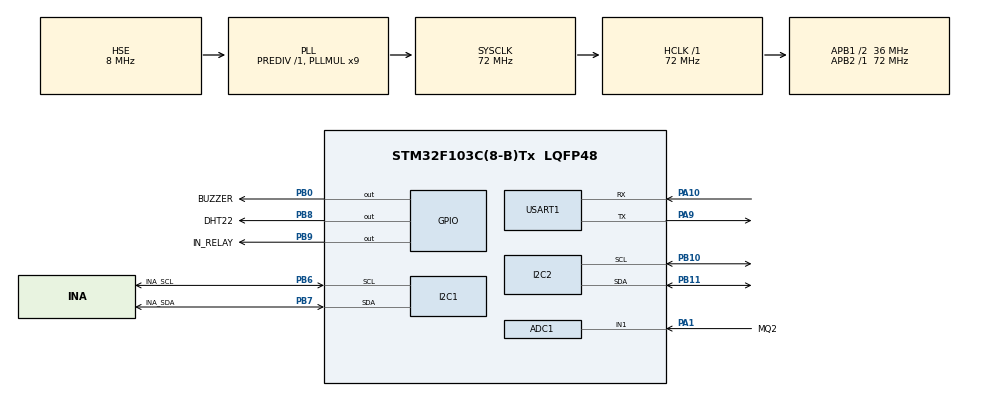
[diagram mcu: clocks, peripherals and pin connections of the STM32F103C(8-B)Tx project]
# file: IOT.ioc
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ADC1.Channel-0\#ChannelRegularConversion=ADC_CHANNEL_1
ADC1.ContinuousConvMode=DISABLE
ADC1.NbrOfConversion=1
ADC1.NbrOfConversionFlag=1
ADC1.Rank-0\#ChannelRegularConversion=1
ADC1.SamplingTime-0\#ChannelRegularConversion=ADC_SAMPLETIME_239CYCLES_5
ADC1.master=1
Dma.ADC1.0.Direction=DMA_PERIPH_TO_MEMORY
Dma.ADC1.0.Instance=DMA1_Channel1
Dma.ADC1.0.MemDataAlignment=DMA_MDATAALIGN_HALFWORD
Dma.ADC1.0.MemInc=DMA_MINC_ENABLE
Dma.ADC1.0.Mode=DMA_CIRCULAR
Dma.ADC1.0.PeriphDataAlignment=DMA_PDATAALIGN_HALFWORD
Dma.ADC1.0.PeriphInc=DMA_PINC_DISABLE
Dma.ADC1.0.Priority=DMA_PRIORITY_LOW
Dma.Request0=ADC1
Mcu.Family=STM32F1
Mcu.Name=STM32F103C(8-B)Tx
Mcu.Package=LQFP48
NVIC.DMA1_Channel1_IRQn=true\:0\:0\:false\:false\:true\:false\:true\:true
NVIC.PriorityGroup=NVIC_PRIORITYGROUP_4
NVIC.USART1_IRQn=true\:0\:0\:false\:false\:true\:true\:true\:true
PA1.GPIO_Label=MQ2
PA1.Signal=ADCx_IN1
PA10.Mode=Asynchronous
PA10.Signal=USART1_RX
PA13.Mode=Serial_Wire
PA13.Signal=SYS_JTMS-SWDIO
PA14.Mode=Serial_Wire
PA14.Signal=SYS_JTCK-SWCLK
PA9.Mode=Asynchronous
PA9.Signal=USART1_TX
PB0.GPIO_Label=BUZZER
PB0.Signal=GPIO_Output
PB10.Mode=I2C
PB10.Signal=I2C2_SCL
PB11.Mode=I2C
PB11.Signal=I2C2_SDA
PB6.GPIO_Label=INA_SCL
PB6.Mode=I2C
PB6.Signal=I2C1_SCL
PB7.GPIO_Label=INA_SDA
PB7.Mode=I2C
PB7.Signal=I2C1_SDA
PB8.GPIO_Label=DHT22
PB8.GPIO_ModeDefaultOutputPP=GPIO_MODE_OUTPUT_OD
PB8.GPIO_PuPd=GPIO_PULLUP
PB8.GPIO_Speed=GPIO_SPEED_FREQ_HIGH
PB8.PinState=GPIO_PIN_SET
PB8.Signal=GPIO_Output
PB9.GPIO_Label=IN_RELAY
PB9.PinState=GPIO_PIN_SET
PB9.Signal=GPIO_Output
PD0-OSC_IN.Mode=HSE-External-Oscillator
PD0-OSC_IN.Signal=RCC_OSC_IN
PD1-OSC_OUT.Mode=HSE-External-Oscillator
PD1-OSC_OUT.Signal=RCC_OSC_OUT
ProjectManager.HeapSize=0x200
ProjectManager.StackSize=0x400
ProjectManager.TargetToolchain=STM32CubeIDE
RCC.ADCPresc=RCC_ADCPCLK2_DIV6
RCC.AHBFreq_Value=72000000
RCC.APB1CLKDivider=RCC_HCLK_DIV2
RCC.APB1Freq_Value=36000000
RCC.APB1TimFreq_Value=72000000
RCC.APB2Freq_Value=72000000
RCC.APB2TimFreq_Value=72000000
RCC.HCLKFreq_Value=72000000
RCC.PLLMUL=RCC_PLL_MUL9
RCC.PLLSourceVirtual=RCC_PLLSOURCE_HSE
RCC.SYSCLKFreq_VALUE=72000000
RCC.SYSCLKSource=RCC_SYSCLKSOURCE_PLLCLK
RCC.USBFreq_Value=72000000
SH.ADCx_IN1.0=ADC1_IN1,IN1
TIM2.Prescaler=72-1
USART1.VirtualMode=VM_ASYNC
VP_TIM2_VS_ClockSourceINT.Mode=Internal
board=custom

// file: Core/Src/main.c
/* USER CODE BEGIN Header */
/**
 ******************************************************************************
 * @file           : main.c
 * @brief          : Main program body (Dual INA219 I2C1/I2C2 + ADC1_IN1 Only)
 ******************************************************************************
 */
/* USER CODE END Header */
#include "main.h"

/* USER CODE BEGIN Includes */
#include <stdio.h>
#include <string.h>
/* USER CODE END Includes */

/* USER CODE BEGIN PD */
// Konfigurasi Buzzer Active-LOW (ON = RESET / 0V, OFF = SET / 3.3V)
#define BUZZER_STATE_ON       GPIO_PIN_RESET
#define BUZZER_STATE_OFF      GPIO_PIN_SET

// Konfigurasi Relay Active-LOW (ON = RESET / 0V, OFF = SET / 3.3V)
#define RELAY_STATE_ON        GPIO_PIN_RESET
#define RELAY_STATE_OFF       GPIO_PIN_SET

// Parameter Ambang Batas Sensor (Thresholds)
#define MQ2_THRESHOLD_ROKOK   700      // Batas asap rokok (1000 - 2000 ADC)
#define MQ2_THRESHOLD_FIRE    1500      // Batas kebakaran gas/asap pekat (> 2000 ADC)
#define SUHU_THRESHOLD_FIRE   50.0f     // Batas suhu kebakaran (> 50.0 C)

// Konfigurasi Alamat & Register INA219 (kedua sensor pakai 0x40 di bus I2C berbeda)
#define INA219_ADDR           (0x40 << 1)
#define INA219_REG_CONFIG     0x00
#define INA219_REG_SHUNTVOLT  0x01
#define INA219_REG_BUSVOLT    0x02

// Batas Tegangan Baterai 3S (11.1V kosong, 12.6V penuh)
#define VBAT_MIN              11.1f
#define VBAT_MAX              12.6f
/* USER CODE END PD */

ADC_HandleTypeDef hadc1;
DMA_HandleTypeDef hdma_adc1;

I2C_HandleTypeDef hi2c1;
I2C_HandleTypeDef hi2c2;

TIM_HandleTypeDef htim2;

UART_HandleTypeDef huart1;

/* USER CODE BEGIN PV */
// Hanya 1 channel ADC (PA1 / ADC1_IN1 untuk MQ-2)
uint16_t adc_buffer[1];

// Data Baterai -> Rangkaian (INA219 #1 di I2C1: PB6/PB7)
float v_bat = 0.0f;
float pres_bat = 0.0f;
float i_bat = 0.0f;          // Arus beban ke rangkaian (bisa dipantau di Live Expressions)
float p_bat = 0.0f;          // Daya beban ke rangkaian (bisa dipantau di Live Expressions)
uint8_t ina_bat_status = 0;

// Data Solar Panel -> SCC/Baterai (INA219 #2 di I2C2: PB10/PB11)
float v_pv = 0.0f;
float i_pv = 0.0f;
float p_pv = 0.0f;
uint8_t ina_pv_status = 0;

// Status gabungan INA untuk format JSON ESP32 (1 jika kedua INA terhubung)
uint8_t ina_status = 0;

// Moving average tegangan baterai (5 sampel) agar persentase stabil
float v_bat_hist[5] = { 0.0f };
uint8_t v_bat_idx = 0;
uint8_t v_bat_count = 0;

// Data Lingkungan & Gas
uint16_t mq2_raw = 0;
float suhu = 0.0f;
float kelembapan = 0.0f;
uint8_t dht_status = 0;

// Variabel status & kontrol (volatile untuk Live Expressions & Interrupt)
volatile uint8_t pump_status = 0;
volatile uint8_t buzzer_manual = 0;
volatile uint8_t deteksi_kebakaran = 0;
volatile uint8_t deteksi_rokok = 0;

uint8_t uart_rx_byte = 0;
char uart_rx_line[32];
uint8_t uart_rx_idx = 0;
/* USER CODE END PV */

void SystemClock_Config(void);
static void MX_GPIO_Init(void);
static void MX_DMA_Init(void);
static void MX_ADC1_Init(void);
static void MX_I2C1_Init(void);
static void MX_I2C2_Init(void);
static void MX_USART1_UART_Init(void);
static void MX_TIM2_Init(void);
/* USER CODE BEGIN PFP */
void Buzzer_On(void);
void Buzzer_Off(void);
void Buzzer_Beep(uint8_t jumlah, uint16_t on_ms, uint16_t off_ms);
float hitung_pres_bat(float volt);
float filter_v_bat(float v_baru);
uint8_t INA219_Init(I2C_HandleTypeDef *hi2c);
uint8_t INA219_Read_Data(I2C_HandleTypeDef *hi2c, float *v_bus, float *i_ma, float *p_watt);
void I2C_Bus_Recovery(I2C_HandleTypeDef *hi2c);
/* USER CODE END PFP */

/* USER CODE BEGIN 0 */
void Buzzer_On(void) {
	HAL_GPIO_WritePin(BUZZER_GPIO_Port, BUZZER_Pin, BUZZER_STATE_ON);
}

void Buzzer_Off(void) {
	HAL_GPIO_WritePin(BUZZER_GPIO_Port, BUZZER_Pin, BUZZER_STATE_OFF);
}

void Buzzer_Beep(uint8_t jumlah, uint16_t on_ms, uint16_t off_ms) {
	for (uint8_t i = 0; i < jumlah; i++) {
		Buzzer_On();
		HAL_Delay(on_ms);
		Buzzer_Off();
		HAL_Delay(off_ms);
	}
}

float hitung_pres_bat(float volt) {
	if (volt >= VBAT_MAX)
		return 100.0f;
	if (volt <= VBAT_MIN)
		return 0.0f;
	return ((volt - VBAT_MIN) / (VBAT_MAX - VBAT_MIN)) * 100.0f;
}

float filter_v_bat(float v_baru) {
	v_bat_hist[v_bat_idx] = v_baru;
	v_bat_idx = (v_bat_idx + 1) % 5;
	if (v_bat_count < 5) {
		v_bat_count++;
	}
	float total = 0.0f;
	for (uint8_t i = 0; i < v_bat_count; i++) {
		total += v_bat_hist[i];
	}
	return total / (float) v_bat_count;
}

void delay_us(uint16_t us) {
	uint16_t start = (uint16_t) htim2.Instance->CNT;
	while ((uint16_t) (htim2.Instance->CNT - start) < us)
		;
}

static void DHT_SetPin_Output(void) {
	GPIO_InitTypeDef GPIO_InitStruct = { 0 };
	GPIO_InitStruct.Pin = DHT22_Pin;
	GPIO_InitStruct.Mode = GPIO_MODE_OUTPUT_PP;
	GPIO_InitStruct.Speed = GPIO_SPEED_FREQ_HIGH;
	HAL_GPIO_Init(DHT22_GPIO_Port, &GPIO_InitStruct);
}

static void DHT_SetPin_Input(void) {
	GPIO_InitTypeDef GPIO_InitStruct = { 0 };
	GPIO_InitStruct.Pin = DHT22_Pin;
	GPIO_InitStruct.Mode = GPIO_MODE_INPUT;
	GPIO_InitStruct.Pull = GPIO_PULLUP;
	HAL_GPIO_Init(DHT22_GPIO_Port, &GPIO_InitStruct);
}

uint8_t DHT22_Read_Data(float *suhu_out, float *kelembapan_out) {
	uint8_t bits[5] = { 0, 0, 0, 0, 0 };
	uint16_t t0;

	DHT_SetPin_Output();
	HAL_GPIO_WritePin(DHT22_GPIO_Port, DHT22_Pin, GPIO_PIN_RESET);
	HAL_Delay(18);

	HAL_GPIO_WritePin(DHT22_GPIO_Port, DHT22_Pin, GPIO_PIN_SET);
	delay_us(15);
	DHT_SetPin_Input();

	__disable_irq();

	t0 = (uint16_t) htim2.Instance->CNT;
	while (DHT22_GPIO_Port->IDR & DHT22_Pin) {
		if ((uint16_t) (htim2.Instance->CNT - t0) > 150) {
			__enable_irq();
			return 2;
		}
	}
	t0 = (uint16_t) htim2.Instance->CNT;
	while (!(DHT22_GPIO_Port->IDR & DHT22_Pin)) {
		if ((uint16_t) (htim2.Instance->CNT - t0) > 150) {
			__enable_irq();
			return 3;
		}
	}
	t0 = (uint16_t) htim2.Instance->CNT;
	while (DHT22_GPIO_Port->IDR & DHT22_Pin) {
		if ((uint16_t) (htim2.Instance->CNT - t0) > 150) {
			__enable_irq();
			return 4;
		}
	}
	for (int i = 0; i < 40; i++) {
		t0 = (uint16_t) htim2.Instance->CNT;
		while (!(DHT22_GPIO_Port->IDR & DHT22_Pin)) {
			if ((uint16_t) (htim2.Instance->CNT - t0) > 120) {
				__enable_irq();
				return 5;
			}
		}
		t0 = (uint16_t) htim2.Instance->CNT;
		while (DHT22_GPIO_Port->IDR & DHT22_Pin) {
			if ((uint16_t) (htim2.Instance->CNT - t0) > 120) {
				__enable_irq();
				return 6;
			}
		}
		uint16_t duration = (uint16_t) (htim2.Instance->CNT - t0);
		if (duration > 45) {
			bits[i / 8] |= (1 << (7 - (i % 8)));
		}
	}
	__enable_irq();

	if (bits[0] == 0 && bits[1] == 0 && bits[2] == 0 && bits[3] == 0
			&& bits[4] == 0) {
		return 7;
	}
	if (bits[4] != ((bits[0] + bits[1] + bits[2] + bits[3]) & 0xFF)) {
		return 8;
	}
	uint16_t raw_rh = ((uint16_t) bits[0] << 8) | bits[1];
	*kelembapan_out = (float) raw_rh / 10.0f;
	uint16_t raw_temp = (((uint16_t) bits[2] & 0x7F) << 8) | bits[3];
	*suhu_out = (float) raw_temp / 10.0f;
	if (bits[2] & 0x80) {
		*suhu_out = -(*suhu_out);
	}
	return 1;
}

// Fungsi Auto Recovery Bus I2C untuk mengatasi HAL_BUSY / HAL_ERROR (Errata I2C STM32F1)
void I2C_Bus_Recovery(I2C_HandleTypeDef *hi2c) {
	GPIO_TypeDef *port = GPIOB;
	uint16_t scl_pin, sda_pin;

	if (hi2c->Instance == I2C1) {
		scl_pin = GPIO_PIN_6;
		sda_pin = GPIO_PIN_7;
	} else if (hi2c->Instance == I2C2) {
		scl_pin = GPIO_PIN_10;
		sda_pin = GPIO_PIN_11;
	} else {
		return;
	}

	// 1. De-inisialisasi peripheral I2C (disable peripheral & clock)
	HAL_I2C_DeInit(hi2c);

	// 2. Konfigurasi SCL dan SDA menjadi GPIO Output Open-Drain dengan pull-up
	GPIO_InitTypeDef GPIO_InitStruct = { 0 };
	GPIO_InitStruct.Pin = scl_pin | sda_pin;
	GPIO_InitStruct.Mode = GPIO_MODE_OUTPUT_OD;
	GPIO_InitStruct.Pull = GPIO_PULLUP;
	GPIO_InitStruct.Speed = GPIO_SPEED_FREQ_HIGH;
	HAL_GPIO_Init(port, &GPIO_InitStruct);

	// Set kedua pin ke HIGH awal
	HAL_GPIO_WritePin(port, sda_pin, GPIO_PIN_SET);
	HAL_GPIO_WritePin(port, scl_pin, GPIO_PIN_SET);
	delay_us(10);

	// 3. Clock Toggling (9 pulsa clock) agar slave melepaskan SDA yang tersangkut di LOW
	for (uint8_t i = 0; i < 9; i++) {
		HAL_GPIO_WritePin(port, scl_pin, GPIO_PIN_RESET);
		delay_us(10);
		HAL_GPIO_WritePin(port, scl_pin, GPIO_PIN_SET);
		delay_us(10);
	}

	// 4. Generate STOP Condition manual: SDA LOW saat SCL HIGH, lalu SDA HIGH
	HAL_GPIO_WritePin(port, sda_pin, GPIO_PIN_RESET);
	delay_us(10);
	HAL_GPIO_WritePin(port, scl_pin, GPIO_PIN_SET);
	delay_us(10);
	HAL_GPIO_WritePin(port, sda_pin, GPIO_PIN_SET);
	delay_us(10);

	// 5. Reset controller I2C di tingkat RCC hardware
	if (hi2c->Instance == I2C1) {
		__HAL_RCC_I2C1_FORCE_RESET();
		delay_us(10);
		__HAL_RCC_I2C1_RELEASE_RESET();
	} else if (hi2c->Instance == I2C2) {
		__HAL_RCC_I2C2_FORCE_RESET();
		delay_us(10);
		__HAL_RCC_I2C2_RELEASE_RESET();
	}

	// 6. Inisialisasi ulang peripheral I2C (HAL_I2C_Init otomatis memanggil MSP Init untuk pin AF_OD)
	HAL_I2C_Init(hi2c);
}

// Fungsi reusable INA219 untuk hi2c1 (Baterai) maupun hi2c2 (Solar Panel)
uint8_t INA219_Init(I2C_HandleTypeDef *hi2c) {
	// Jika bus sedang BUSY atau device tidak merespon, jalankan recovery terlebih dahulu
	if (HAL_I2C_IsDeviceReady(hi2c, INA219_ADDR, 2, 50) != HAL_OK) {
		I2C_Bus_Recovery(hi2c);
		if (HAL_I2C_IsDeviceReady(hi2c, INA219_ADDR, 2, 50) != HAL_OK) {
			return 0;
		}
	}
	// 0x3FFF: 32V Bus Range, +-320mV Shunt, 128-sample hardware averaging, continuous
	uint8_t config[3] = { INA219_REG_CONFIG, 0x3F, 0xFF };
	if (HAL_I2C_Master_Transmit(hi2c, INA219_ADDR, config, 3, 50) == HAL_OK) {
		return 1;
	}
	I2C_Bus_Recovery(hi2c);
	return 0;
}

uint8_t INA219_Read_Data(I2C_HandleTypeDef *hi2c, float *v_bus, float *i_ma, float *p_watt) {
	uint8_t buf[2];
	int16_t raw_shunt = 0;
	uint16_t raw_bus = 0; // Wajib unsigned agar aman membaca panel surya > 16.38V
	HAL_StatusTypeDef status;

	status = HAL_I2C_Mem_Read(hi2c, INA219_ADDR, INA219_REG_SHUNTVOLT,
			I2C_MEMADD_SIZE_8BIT, buf, 2, 50);
	if (status != HAL_OK) {
		*i_ma = 0.0f;
		*v_bus = 0.0f;
		*p_watt = 0.0f;
		if (status == HAL_BUSY || status == HAL_ERROR) {
			I2C_Bus_Recovery(hi2c);
		}
		return 0;
	}
	raw_shunt = (int16_t) ((buf[0] << 8) | buf[1]);
	*i_ma = (float) raw_shunt * 0.1f;

	// Potong arus negatif dan zero-offset noise < 3 mA agar terbaca bersih 0.0 saat idle
	if (*i_ma < 3.0f) {
		*i_ma = 0.0f;
	}

	status = HAL_I2C_Mem_Read(hi2c, INA219_ADDR, INA219_REG_BUSVOLT,
			I2C_MEMADD_SIZE_8BIT, buf, 2, 50);
	if (status != HAL_OK) {
		*v_bus = 0.0f;
		*p_watt = 0.0f;
		if (status == HAL_BUSY || status == HAL_ERROR) {
			I2C_Bus_Recovery(hi2c);
		}
		return 0;
	}
	raw_bus = (uint16_t) ((buf[0] << 8) | buf[1]);
	*v_bus = (float) ((raw_bus >> 3) * 4) / 1000.0f;
	*p_watt = (*v_bus) * (*i_ma / 1000.0f);

	return 1;
}
/* USER CODE END 0 */

int main(void) {

	HAL_Init();
	SystemClock_Config();

	/* USER CODE BEGIN SysInit */
	SystemCoreClockUpdate();
	/* USER CODE END SysInit */

	/* Initialize all configured peripherals */
	MX_GPIO_Init();
	MX_DMA_Init();
	MX_ADC1_Init();
	MX_I2C1_Init();
	MX_I2C2_Init();
	MX_USART1_UART_Init();
	MX_TIM2_Init();

	/* USER CODE BEGIN 2 */
	HAL_GPIO_WritePin(IN_RELAY_GPIO_Port, IN_RELAY_Pin, RELAY_STATE_OFF);
	Buzzer_Off();
	Buzzer_Beep(1, 100, 100);

	__HAL_TIM_SET_PRESCALER(&htim2, 71);
	htim2.Instance->EGR = TIM_EGR_UG;
	HAL_TIM_Base_Start(&htim2);

	// Jalankan ADC DMA untuk 1 channel saja (PA1 / MQ-2)
	HAL_ADC_Start_DMA(&hadc1, (uint32_t*) adc_buffer, 1);

	// Inisialisasi kedua sensor INA219
	ina_bat_status = INA219_Init(&hi2c1); // Baterai -> Rangkaian
	ina_pv_status  = INA219_Init(&hi2c2); // Solar Panel -> SCC/Baterai

	HAL_UART_Receive_IT(&huart1, &uart_rx_byte, 1);
	HAL_Delay(2000);
	/* USER CODE END 2 */

	/* Infinite loop */
	/* USER CODE BEGIN WHILE */
	while (1) {
		// 0. Sinkronisasi status Relay Pompa (Active-LOW)
		if (pump_status == 1) {
			HAL_GPIO_WritePin(IN_RELAY_GPIO_Port, IN_RELAY_Pin, RELAY_STATE_ON);
		} else {
			HAL_GPIO_WritePin(IN_RELAY_GPIO_Port, IN_RELAY_Pin, RELAY_STATE_OFF);
		}

		// 1. Baca MQ-2 dari ADC1_IN1 (sekarang berada di indeks 0)
		mq2_raw = adc_buffer[0];

		// 2. Baca Sensor INA219 #1 di I2C1 (Baterai -> Rangkaian)
		if (ina_bat_status == 1) {
			float v_bat_raw = 0.0f;
			ina_bat_status = INA219_Read_Data(&hi2c1, &v_bat_raw, &i_bat, &p_bat);
			if (ina_bat_status == 1) {
				v_bat = filter_v_bat(v_bat_raw);
				pres_bat = hitung_pres_bat(v_bat);
			}
		} else {
			ina_bat_status = INA219_Init(&hi2c1);
			v_bat = 0.0f;
			pres_bat = 0.0f;
			i_bat = 0.0f;
			p_bat = 0.0f;
		}

		// 3. Baca Sensor INA219 #2 di I2C2 (Solar Panel -> SCC/Baterai)
		if (ina_pv_status == 1) {
			ina_pv_status = INA219_Read_Data(&hi2c2, &v_pv, &i_pv, &p_pv);
		} else {
			ina_pv_status = INA219_Init(&hi2c2);
			v_pv = 0.0f;
			i_pv = 0.0f;
			p_pv = 0.0f;
		}

		// Status INA untuk dikirim ke ESP32/Android (1 jika kedua sensor aktif)
		ina_status = (ina_bat_status == 1 && ina_pv_status == 1) ? 1 : 0;

		// 4. Baca Sensor Suhu & Kelembapan DHT22
		dht_status = DHT22_Read_Data(&suhu, &kelembapan);
		if (dht_status != 1) {
			suhu = 0.0f;
			kelembapan = 0.0f;
		}

		// 5. Evaluasi Deteksi Kebakaran & Asap Rokok
		if (mq2_raw > MQ2_THRESHOLD_FIRE
				|| (dht_status == 1 && suhu > SUHU_THRESHOLD_FIRE)) {
			deteksi_kebakaran = 1;
			deteksi_rokok = 0;
		} else if (mq2_raw >= MQ2_THRESHOLD_ROKOK) {
			deteksi_kebakaran = 0;
			deteksi_rokok = 1;
		} else {
			deteksi_kebakaran = 0;
			deteksi_rokok = 0;
		}

		// 6. Kendali Buzzer (Active-LOW)
		uint16_t delay_sisa_ms = 2000;
		if (buzzer_manual == 1 || deteksi_kebakaran == 1) {
			Buzzer_On();
			delay_sisa_ms = 2000;
		} else if (deteksi_rokok == 1) {
			Buzzer_Beep(5, 100, 100);
			Buzzer_Off();
			delay_sisa_ms = 1000;
		} else {
			Buzzer_Off();
			delay_sisa_ms = 2000;
		}

		// 7. Kirim Paket Serial ke ESP32 (Format tetap sama persis 11 field)
		char uart_tx_buff[140];
		int len = sprintf(uart_tx_buff,
				"$DATA,%.2f,%.1f,%u,%.1f,%.1f,%u,%.2f,%.1f,%.2f,%u,%u\n",
				v_bat, pres_bat, mq2_raw, suhu, kelembapan, dht_status,
				v_pv, i_pv, p_pv, ina_status, pump_status);

		HAL_UART_Transmit(&huart1, (uint8_t*) uart_tx_buff, len, 100);

		HAL_Delay(delay_sisa_ms);
		/* USER CODE END WHILE */

	}
}

void SystemClock_Config(void) {
	RCC_OscInitTypeDef RCC_OscInitStruct = { 0 };
	RCC_ClkInitTypeDef RCC_ClkInitStruct = { 0 };
	RCC_PeriphCLKInitTypeDef PeriphClkInit = { 0 };

	RCC_OscInitStruct.OscillatorType = RCC_OSCILLATORTYPE_HSE;
	RCC_OscInitStruct.HSEState = RCC_HSE_ON;
	RCC_OscInitStruct.HSEPredivValue = RCC_HSE_PREDIV_DIV1;
	RCC_OscInitStruct.HSIState = RCC_HSI_ON;
	RCC_OscInitStruct.PLL.PLLState = RCC_PLL_ON;
	RCC_OscInitStruct.PLL.PLLSource = RCC_PLLSOURCE_HSE;
	RCC_OscInitStruct.PLL.PLLMUL = RCC_PLL_MUL9;
	if (HAL_RCC_OscConfig(&RCC_OscInitStruct) != HAL_OK) {
		Error_Handler();
	}

	RCC_ClkInitStruct.ClockType = RCC_CLOCKTYPE_HCLK | RCC_CLOCKTYPE_SYSCLK
			| RCC_CLOCKTYPE_PCLK1 | RCC_CLOCKTYPE_PCLK2;
	RCC_ClkInitStruct.SYSCLKSource = RCC_SYSCLKSOURCE_PLLCLK;
	RCC_ClkInitStruct.AHBCLKDivider = RCC_SYSCLK_DIV1;
	RCC_ClkInitStruct.APB1CLKDivider = RCC_HCLK_DIV2;
	RCC_ClkInitStruct.APB2CLKDivider = RCC_HCLK_DIV1;

	if (HAL_RCC_ClockConfig(&RCC_ClkInitStruct, FLASH_LATENCY_2) != HAL_OK) {
		Error_Handler();
	}
	PeriphClkInit.PeriphClockSelection = RCC_PERIPHCLK_ADC;
	PeriphClkInit.AdcClockSelection = RCC_ADCPCLK2_DIV6;
	if (HAL_RCCEx_PeriphCLKConfig(&PeriphClkInit) != HAL_OK) {
		Error_Handler();
	}
}

static void MX_ADC1_Init(void) {
	ADC_ChannelConfTypeDef sConfig = { 0 };

	hadc1.Instance = ADC1;
	hadc1.Init.ScanConvMode = ADC_SCAN_DISABLE;
	hadc1.Init.ContinuousConvMode = ENABLE;
	hadc1.Init.DiscontinuousConvMode = DISABLE;
	hadc1.Init.ExternalTrigConv = ADC_SOFTWARE_START;
	hadc1.Init.DataAlign = ADC_DATAALIGN_RIGHT;
	hadc1.Init.NbrOfConversion = 1;
	if (HAL_ADC_Init(&hadc1) != HAL_OK) {
		Error_Handler();
	}

	// Hanya PA1 (ADC_CHANNEL_1) untuk sensor MQ-2
	sConfig.Channel = ADC_CHANNEL_1;
	sConfig.Rank = ADC_REGULAR_RANK_1;
	sConfig.SamplingTime = ADC_SAMPLETIME_55CYCLES_5;
	if (HAL_ADC_ConfigChannel(&hadc1, &sConfig) != HAL_OK) {
		Error_Handler();
	}
}

static void MX_I2C1_Init(void) {
	hi2c1.Instance = I2C1;
	hi2c1.Init.ClockSpeed = 100000;
	hi2c1.Init.DutyCycle = I2C_DUTYCYCLE_2;
	hi2c1.Init.OwnAddress1 = 0;
	hi2c1.Init.AddressingMode = I2C_ADDRESSINGMODE_7BIT;
	hi2c1.Init.DualAddressMode = I2C_DUALADDRESS_DISABLE;
	hi2c1.Init.OwnAddress2 = 0;
	hi2c1.Init.GeneralCallMode = I2C_GENERALCALL_DISABLE;
	hi2c1.Init.NoStretchMode = I2C_NOSTRETCH_DISABLE;
	if (HAL_I2C_Init(&hi2c1) != HAL_OK) {
		Error_Handler();
	}
}

static void MX_I2C2_Init(void) {
	hi2c2.Instance = I2C2;
	hi2c2.Init.ClockSpeed = 100000;
	hi2c2.Init.DutyCycle = I2C_DUTYCYCLE_2;
	hi2c2.Init.OwnAddress1 = 0;
	hi2c2.Init.AddressingMode = I2C_ADDRESSINGMODE_7BIT;
	hi2c2.Init.DualAddressMode = I2C_DUALADDRESS_DISABLE;
	hi2c2.Init.OwnAddress2 = 0;
	hi2c2.Init.GeneralCallMode = I2C_GENERALCALL_DISABLE;
	hi2c2.Init.NoStretchMode = I2C_NOSTRETCH_DISABLE;
	if (HAL_I2C_Init(&hi2c2) != HAL_OK) {
		Error_Handler();
	}
}

static void MX_TIM2_Init(void) {
	TIM_ClockConfigTypeDef sClockSourceConfig = { 0 };
	TIM_MasterConfigTypeDef sMasterConfig = { 0 };

	htim2.Instance = TIM2;
	htim2.Init.Prescaler = 72 - 1;
	htim2.Init.CounterMode = TIM_COUNTERMODE_UP;
	htim2.Init.Period = 65535;
	htim2.Init.ClockDivision = TIM_CLOCKDIVISION_DIV1;
	htim2.Init.AutoReloadPreload = TIM_AUTORELOAD_PRELOAD_DISABLE;
	if (HAL_TIM_Base_Init(&htim2) != HAL_OK) {
		Error_Handler();
	}
	sClockSourceConfig.ClockSource = TIM_CLOCKSOURCE_INTERNAL;
	if (HAL_TIM_ConfigClockSource(&htim2, &sClockSourceConfig) != HAL_OK) {
		Error_Handler();
	}
	sMasterConfig.MasterOutputTrigger = TIM_TRGO_RESET;
	sMasterConfig.MasterSlaveMode = TIM_MASTERSLAVEMODE_DISABLE;
	if (HAL_TIMEx_MasterConfigSynchronization(&htim2, &sMasterConfig) != HAL_OK) {
		Error_Handler();
	}
}

static void MX_USART1_UART_Init(void) {
	huart1.Instance = USART1;
	huart1.Init.BaudRate = 115200;
	huart1.Init.WordLength = UART_WORDLENGTH_8B;
	huart1.Init.StopBits = UART_STOPBITS_1;
	huart1.Init.Parity = UART_PARITY_NONE;
	huart1.Init.Mode = UART_MODE_TX_RX;
	huart1.Init.HwFlowCtl = UART_HWCONTROL_NONE;
	huart1.Init.OverSampling = UART_OVERSAMPLING_16;
	if (HAL_UART_Init(&huart1) != HAL_OK) {
		Error_Handler();
	}
}

static void MX_DMA_Init(void) {
	__HAL_RCC_DMA1_CLK_ENABLE();
	HAL_NVIC_SetPriority(DMA1_Channel1_IRQn, 0, 0);
	HAL_NVIC_EnableIRQ(DMA1_Channel1_IRQn);
}

static void MX_GPIO_Init(void) {
	GPIO_InitTypeDef GPIO_InitStruct = { 0 };

	__HAL_RCC_GPIOD_CLK_ENABLE();
	__HAL_RCC_GPIOA_CLK_ENABLE();
	__HAL_RCC_GPIOB_CLK_ENABLE();

	HAL_GPIO_WritePin(BUZZER_GPIO_Port, BUZZER_Pin, BUZZER_STATE_OFF);
	HAL_GPIO_WritePin(GPIOB, DHT22_Pin | IN_RELAY_Pin, GPIO_PIN_SET);

	GPIO_InitStruct.Pin = BUZZER_Pin | IN_RELAY_Pin;
	GPIO_InitStruct.Mode = GPIO_MODE_OUTPUT_PP;
	GPIO_InitStruct.Pull = GPIO_NOPULL;
	GPIO_InitStruct.Speed = GPIO_SPEED_FREQ_LOW;
	HAL_GPIO_Init(GPIOB, &GPIO_InitStruct);

	GPIO_InitStruct.Pin = DHT22_Pin;
	GPIO_InitStruct.Mode = GPIO_MODE_OUTPUT_OD;
	GPIO_InitStruct.Pull = GPIO_PULLUP;
	GPIO_InitStruct.Speed = GPIO_SPEED_FREQ_HIGH;
	HAL_GPIO_Init(DHT22_GPIO_Port, &GPIO_InitStruct);
}

/* USER CODE BEGIN 4 */
void HAL_UART_RxCpltCallback(UART_HandleTypeDef *huart) {
	if (huart->Instance == USART1) {
		if (uart_rx_byte == '\n' || uart_rx_byte == '\r') {
			if (uart_rx_idx > 0) {
				uart_rx_line[uart_rx_idx] = '\0';

				if (strcmp(uart_rx_line, "$CMD,PUMP,1") == 0) {
					pump_status = 1;
					HAL_GPIO_WritePin(IN_RELAY_GPIO_Port, IN_RELAY_Pin, RELAY_STATE_ON);
				} else if (strcmp(uart_rx_line, "$CMD,PUMP,0") == 0) {
					pump_status = 0;
					HAL_GPIO_WritePin(IN_RELAY_GPIO_Port, IN_RELAY_Pin, RELAY_STATE_OFF);
				} else if (strcmp(uart_rx_line, "$CMD,BUZZER,1") == 0) {
					buzzer_manual = 1;
					Buzzer_On();
				} else if (strcmp(uart_rx_line, "$CMD,BUZZER,0") == 0) {
					buzzer_manual = 0;
					Buzzer_Off();
				}
				uart_rx_idx = 0;
			}
		} else if (uart_rx_idx < sizeof(uart_rx_line) - 1) {
			uart_rx_line[uart_rx_idx++] = (char) uart_rx_byte;
		}
		HAL_UART_Receive_IT(huart, &uart_rx_byte, 1);
	}
}
/* USER CODE END 4 */

void Error_Handler(void) {
	__disable_irq();
	while (1) {
	}
}
